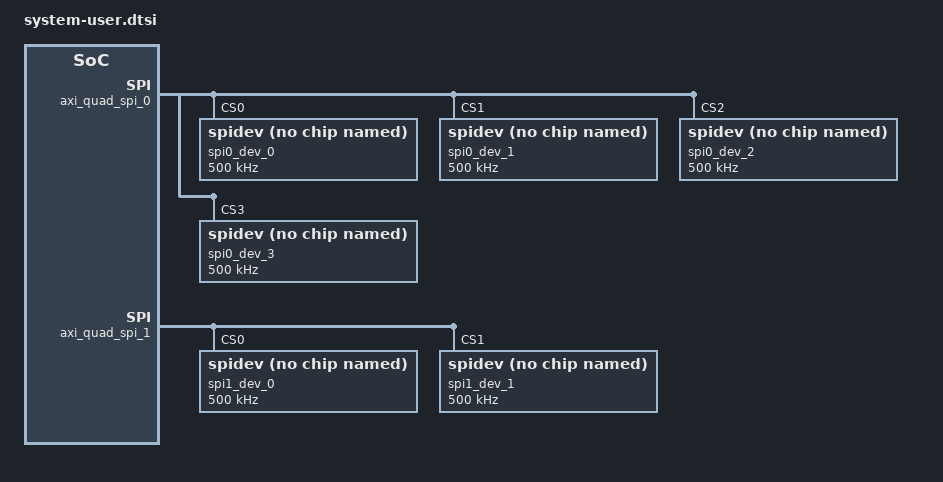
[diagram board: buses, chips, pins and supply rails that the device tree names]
/include/ "system-conf.dtsi"
/ {
};


&axi_gpio_0 {
	    compatible = "generic-uio";
	}; 
&axi_gpio_1 {
	    compatible = "generic-uio";
	}; 

&axi_quad_spi_0 {
    status = "okay";
    clock-names = "axi_clk", "axi4_clk", "spi_clk";
    clocks = <&clkc 15>, <&clkc 15>, <&clkc 15>; 
    spi0_dev_0@0 {
        compatible = "spidev";
        reg = <0>;
        spi-max-frequency = <500000>;
        #address-cells = <1>;
        #size-cells = <1>;
    };
 
    spi0_dev_1@1 {
        compatible = "spidev";
        reg = <1>;
        spi-max-frequency = <500000>;
        #address-cells = <1>;
        #size-cells = <1>;
    };
    spi0_dev_2@2 {
        compatible = "spidev";
        reg = <2>;
        spi-max-frequency = <500000>;
        #address-cells = <1>;
        #size-cells = <1>;
    };
    spi0_dev_3@3 {
        compatible = "spidev";
        reg = <3>;
        spi-max-frequency = <500000>;
        #address-cells = <1>;
        #size-cells = <1>;
    };        
}; 
 
&axi_quad_spi_1 {
    status = "okay";
    clock-names = "axi_clk", "axi4_clk", "spi_clk";
    clocks = <&clkc 15>, <&clkc 15>, <&clkc 15>; 
    spi1_dev_0@0 {
        compatible = "spidev";
        reg = <0>;
        spi-max-frequency = <500000>;
        #address-cells = <1>;
        #size-cells = <1>;
    };
    
    spi1_dev_1@1 {
        compatible = "spidev";
        reg = <1>;
        spi-max-frequency = <500000>;
        #address-cells = <1>;
        #size-cells = <1>;
    }; 
}; 

